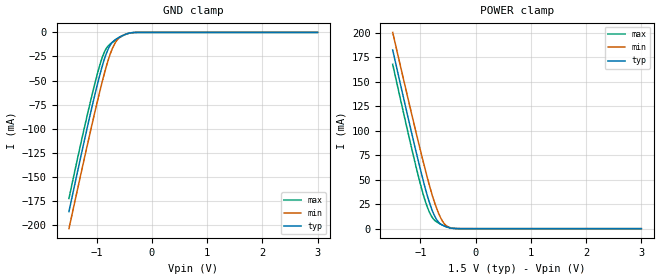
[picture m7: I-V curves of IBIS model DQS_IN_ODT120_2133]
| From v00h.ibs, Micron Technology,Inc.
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| MODEL DQS_IN_ODT120_2133 (Data Strobe Input with 120ohm ODT, 2133Mbps)
[Model]   DQS_IN_ODT120_2133
Model_type   Input
Vinl = 615.000mV
Vinh = 885.000mV
|   typ   min   max
|C_comp   1.071pF   0.991pF   1.154pF
C_comp_power_clamp   0.5355pF   0.4955pF   0.5770pF
C_comp_gnd_clamp   0.5355pF   0.4955pF   0.5770pF
| Note: C_comp changes when the ODT circuit is enabled.
[Model Spec]
| Input threshold voltage corners
Vinl   0.6150V   0.5775V   0.6525V
Vinh   0.8850V   0.8475V   0.9225V
| Dynamic Overshoot Parameters from DDR3 Specification
|D_overshoot_ampl_h   0.40   NA   NA
|D_overshoot_ampl_l   0.40   NA   NA
|D_overshoot_area_h   0.10n   NA   NA
|D_overshoot_area_l   0.10n   NA   NA
[Receiver Thresholds]
|Vth   =  0.750V
|Vth_min  =  0.7350V
|Vth_max  =  0.7650V
|Vinh_ac  =  0.135V
|Vinh_dc  =  0.100V
|Vinl_ac  = -0.135V
|Vinl_dc  = -0.100V
|Tslew_ac =  5.000ns |Not specified, so set to high value
|Threshold_sensitivity = 0.50
|Reference_supply Power_clamp_ref
|NOTE: If using the IBISCHK 4.2.1 or older parser, Differential receiver
|threshold parameters must be commented out because the parser generates
|errors for multiple differential models.
Vcross_low   = 0.615V
Vcross_high  = 0.885V
Vdiff_ac   = 270mV
Vdiff_dc   = 200mV
Tdiffslew_ac = 10.000ns |Not specified, so set to high value
[Voltage Range]   1.5000V   1.4250V   1.5750V
[POWER Clamp Reference]   1.5000V   1.4250V   1.5750V
| Junction Temperature (Ambient temp is 35C typ, 95C min, 0C max)
[Temperature Range]   50.0   110.0   0.0
[Add Submodel]
| Submodel Name   Mode
120ohm_ODT_2133   Non-Driving
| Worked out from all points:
|   GND clamp passes 1 mA (typ) near -0.42 V on its own axis
|   POWER clamp passes 1 mA (typ) near -0.48 V on its own axis
[GND Clamp]
|   Voltage   I(typ)   I(min)   I(max)
-1.5V     -186.2mA   -204mA     -172.6mA
-1.315V   -136.9mA   -155.3mA   -123.3mA
-1.16V    -96.67mA   -115.3mA   -83.85mA
-1.015V   -60.95mA   -78.97mA   -49.54mA
-920mV    -39.66mA   -56.35mA   -29.97mA
-845mV    -25.38mA   -39.76mA   -18.86mA
-765mV    -14.51mA   -24.46mA   -12.61mA
-675mV    -8.152mA   -12.06mA   -8.737mA
-580mV    -4.745mA   -5.106mA   -5.244mA
-455mV    -1.57mA    -1.548mA   -1.644mA
-295mV    -67.34uA   -100.2uA   -44.89uA
3V        0A         0A         0A
[POWER Clamp]
|   Voltage   I(typ)   I(min)   I(max)
-1.5V     182.5mA    200.6mA    168mA
-1.115V   87.65mA    107.2mA    72.03mA
-1V       60.77mA    80.32mA    45.8mA
-910mV    41.06mA    60.06mA    28.01mA
-815mV    23.25mA    40.09mA    14.52mA
-725mV    11.22mA    23.9mA     7.788mA
-675mV    6.927mA    16.47mA    5.908mA
-625mV    4.412mA    10.26mA    4.353mA
-535mV    1.985mA    3.233mA    2.027mA
-440mV    574.7uA    785.3uA    506.5uA
-280mV    17.5uA     38.6uA     7.717uA
3V        0A         0A         0A
